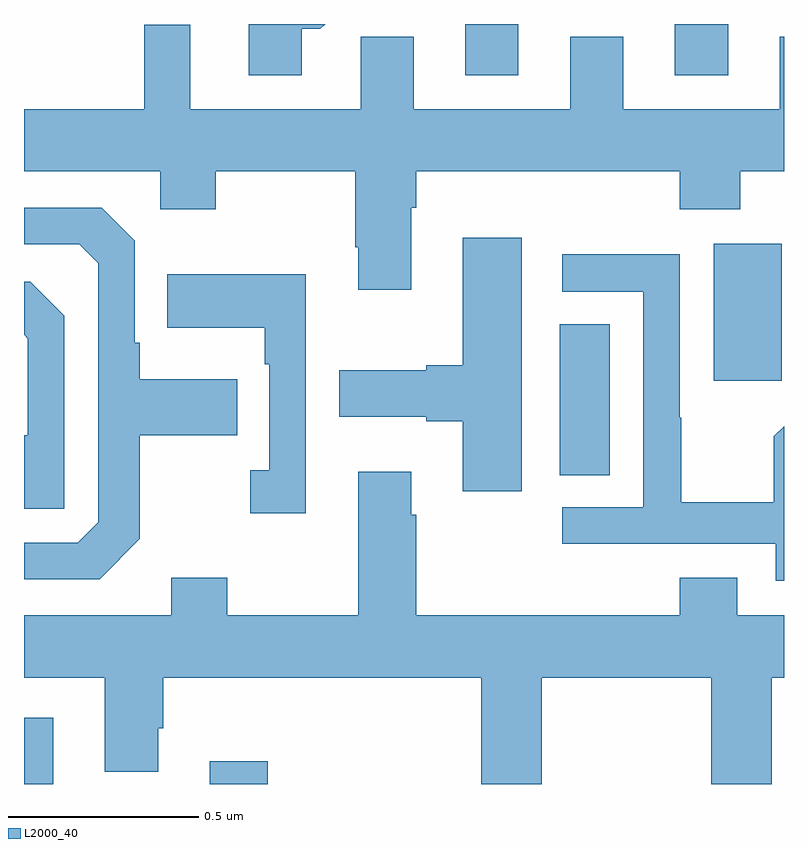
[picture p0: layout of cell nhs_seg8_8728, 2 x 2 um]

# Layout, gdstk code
import gdstk
lib = gdstk.Library(unit=1e-6, precision=1e-09)
def R(c, l, rs):  # rectangles x0, y0, x1, y1
    for r in rs: c.add(gdstk.rectangle(r[:2], r[2:], *l))
def P(c, l, *ps):  # polygons
    for p in ps: c.add(gdstk.Polygon(p, *l))
L2000_40 = (2000, 40)

nhs_seg8_8728 = lib.new_cell('nhs_seg8_8728')
R(nhs_seg8_8728, L2000_40, [(227,1102.9,227.077,1103.074), (227.489,1102.9,227.642,1102.96), (228.41,1103.713,228.541,1104.11), (228.815,1103.961,228.994,1104.322), (228.161,1104.765,228.301,1104.9), (228.713,1104.765,228.853,1104.9)])
P(nhs_seg8_8728, L2000_40, [(227.731,1104.887),(227.78,1104.887),(227.793,1104.9),(227.591,1104.9),(227.591,1104.765),(227.731,1104.765)],
  [(228.019,1104.416),(228.032,1104.416),(228.032,1104.512),(228.725,1104.512),(228.725,1104.413),(228.885,1104.413),(228.885,1104.512),(229,1104.512),(229,1104.866),(228.989,1104.866),(228.989,1104.676),(228.577,1104.676),(228.577,1104.866),(228.437,1104.866),(228.437,1104.676),(228.025,1104.676),(228.025,1104.866),(227.886,1104.866),(227.886,1104.676),(227.437,1104.676),(227.437,1104.898),(227.316,1104.898),(227.316,1104.676),(227,1104.676),(227,1104.512),(227.358,1104.512),(227.358,1104.413),(227.505,1104.413),(227.505,1104.512),(227.872,1104.512),(227.872,1104.313),(227.879,1104.313),(227.879,1104.201),(228.019,1104.201)],
  [(227.305,1103.545),(227.305,1103.818),(227.561,1103.818),(227.561,1103.965),(227.305,1103.965),(227.305,1104.061),(227.292,1104.061),(227.292,1104.33),(227.205,1104.417),(227,1104.417),(227,1104.321),(227.145,1104.321),(227.196,1104.27),(227.196,1103.589),(227.142,1103.535),(227,1103.535),(227,1103.439),(227.199,1103.439)],
  [(228.31,1104.337),(228.155,1104.337),(228.155,1104.002),(228.059,1104.002),(228.059,1103.989),(227.829,1103.989),(227.829,1103.867),(228.059,1103.867),(228.059,1103.855),(228.155,1103.855),(228.155,1103.67),(228.31,1103.67)],
  [(229,1103.842),(228.973,1103.815),(228.973,1103.641),(228.729,1103.641),(228.729,1103.864),(228.726,1103.864),(228.726,1104.294),(228.417,1104.294),(228.417,1104.195),(228.63,1104.195),(228.63,1103.628),(228.417,1103.628),(228.417,1103.532),(228.978,1103.532),(228.978,1103.435),(229,1103.435)],
  [(227.742,1104.241),(227.377,1104.241),(227.377,1104.101),(227.634,1104.101),(227.634,1104.005),(227.646,1104.005),(227.646,1103.726),(227.595,1103.726),(227.595,1103.613),(227.742,1103.613)],
  [(227.106,1104.132),(227.016,1104.222),(227,1104.222),(227,1104.082),(227.01,1104.072),(227.01,1103.818),(227,1103.818),(227,1103.625),(227.106,1103.625)],
  [(228.363,1103.18),(228.808,1103.18),(228.808,1102.9),(228.968,1102.9),(228.968,1103.18),(229,1103.18),(229,1103.344),(228.877,1103.344),(228.877,1103.443),(228.725,1103.443),(228.725,1103.344),(228.032,1103.344),(228.032,1103.609),(228.019,1103.609),(228.019,1103.722),(227.879,1103.722),(227.879,1103.344),(227.535,1103.344),(227.535,1103.443),(227.387,1103.443),(227.387,1103.344),(227,1103.344),(227,1103.18),(227.213,1103.18),(227.213,1102.932),(227.353,1102.932),(227.353,1103.047),(227.366,1103.047),(227.366,1103.18),(228.203,1103.18),(228.203,1102.9),(228.363,1102.9)])

lib.write_gds('nhs_seg8_8728.gds')
